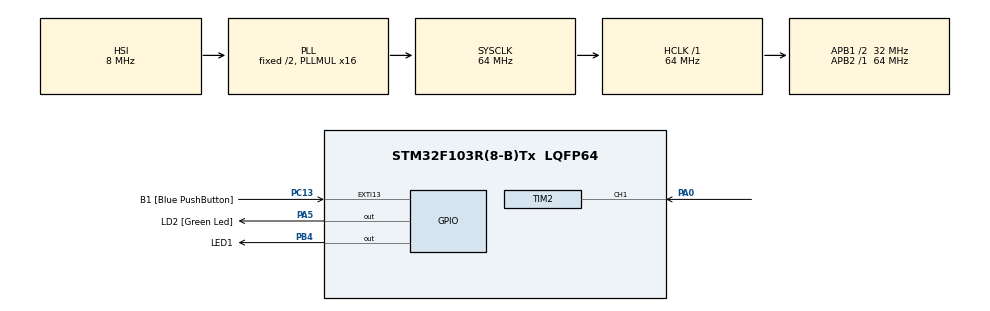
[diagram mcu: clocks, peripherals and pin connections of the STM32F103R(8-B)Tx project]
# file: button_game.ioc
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Mcu.Family=STM32F1
Mcu.Name=STM32F103R(8-B)Tx
Mcu.Package=LQFP64
NVIC.EXTI15_10_IRQn=true\:0\:0\:false\:false\:true\:true\:true\:true
NVIC.PriorityGroup=NVIC_PRIORITYGROUP_4
NVIC.TIM2_IRQn=true\:0\:0\:false\:false\:true\:true\:true\:true
NVIC.TIM3_IRQn=true\:0\:0\:false\:false\:true\:true\:true\:true
PA0-WKUP.Signal=S_TIM2_CH1_ETR
PA13.GPIO_Label=TMS
PA13.Mode=Serial_Wire
PA13.Signal=SYS_JTMS-SWDIO
PA14.GPIO_Label=TCK
PA14.Mode=Serial_Wire
PA14.Signal=SYS_JTCK-SWCLK
PA2.GPIO_Label=USART_TX
PA2.GPIO_Mode=GPIO_MODE_AF_PP
PA2.GPIO_PuPd=GPIO_NOPULL
PA2.GPIO_Speed=GPIO_SPEED_FREQ_LOW
PA2.Signal=USART2_TX
PA3.GPIO_Label=USART_RX
PA3.GPIO_Mode=GPIO_MODE_AF_PP
PA3.GPIO_PuPd=GPIO_NOPULL
PA3.GPIO_Speed=GPIO_SPEED_FREQ_LOW
PA3.Signal=USART2_RX
PA5.GPIO_Label=LD2 [Green Led]
PA5.GPIO_ModeDefaultOutputPP=GPIO_MODE_OUTPUT_PP
PA5.GPIO_PuPd=GPIO_NOPULL
PA5.GPIO_Speed=GPIO_SPEED_FREQ_LOW
PA5.Signal=GPIO_Output
PB4.GPIO_Label=LED1
PB4.Signal=GPIO_Output
PC13-TAMPER-RTC.GPIO_Label=B1 [Blue PushButton]
PC13-TAMPER-RTC.GPIO_ModeDefaultEXTI=GPIO_MODE_IT_FALLING
PC13-TAMPER-RTC.GPIO_PuPd=GPIO_NOPULL
PC13-TAMPER-RTC.Signal=GPXTI13
PC14-OSC32_IN.Signal=RCC_OSC32_IN
PC15-OSC32_OUT.Signal=RCC_OSC32_OUT
PD0-OSC_IN.Signal=RCC_OSC_IN
PD1-OSC_OUT.Signal=RCC_OSC_OUT
ProjectManager.HeapSize=0x200
ProjectManager.StackSize=0x400
ProjectManager.TargetToolchain=STM32CubeIDE
RCC.AHBFreq_Value=64000000
RCC.APB1CLKDivider=RCC_HCLK_DIV2
RCC.APB1Freq_Value=32000000
RCC.APB1TimFreq_Value=64000000
RCC.APB2Freq_Value=64000000
RCC.APB2TimFreq_Value=64000000
RCC.HCLKFreq_Value=64000000
RCC.PLLMUL=RCC_PLL_MUL16
RCC.SYSCLKFreq_VALUE=64000000
RCC.SYSCLKSource=RCC_SYSCLKSOURCE_PLLCLK
RCC.USBFreq_Value=64000000
SH.S_TIM2_CH1_ETR.0=TIM2_CH1,Input_Capture1_from_TI1
TIM2.Channel-Input_Capture1_from_TI1=TIM_CHANNEL_1
TIM2.ICFilter_CH1=15
TIM2.ICPolarity_CH1=TIM_INPUTCHANNELPOLARITY_FALLING
TIM2.Period=10000
TIM2.Prescaler=64000-1
TIM3.Period=4000
TIM3.Prescaler=64000-1
VP_TIM2_VS_ClockSourceINT.Mode=Internal
VP_TIM3_VS_ClockSourceINT.Mode=Internal
board=NUCLEO-F103RB

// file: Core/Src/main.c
/* USER CODE BEGIN Header */
/**
  ******************************************************************************
  * @file           : main.c
  * @brief          : Main program body
  ******************************************************************************
  * @attention
  *
  * Copyright (c) 2024 STMicroelectronics.
  * All rights reserved.
  *
  * This software is licensed under terms that can be found in the LICENSE file
  * in the root directory of this software component.
  * If no LICENSE file comes with this software, it is provided AS-IS.
  *
  ******************************************************************************
  */
/* USER CODE END Header */
#include "main.h"

TIM_HandleTypeDef htim2;
TIM_HandleTypeDef htim3;

/* USER CODE BEGIN PV */
int random_interval = 0;
/* USER CODE END PV */

void SystemClock_Config(void);
static void MX_GPIO_Init(void);
static void MX_TIM2_Init(void);
static void MX_TIM3_Init(void);

/* USER CODE BEGIN 0 */
extern void initialise_monitor_handles(void);

void generateTimeInterval(void)
{
	srand(HAL_GetTick());
	random_interval = 500 + (rand() % 2501);
	printf("Random time: %d ms\n", random_interval);
	__HAL_TIM_SET_AUTORELOAD(&htim3, random_interval);
	__HAL_TIM_SET_COUNTER(&htim3, 0);
	HAL_TIM_Base_Start_IT(&htim3);
	HAL_GPIO_WritePin(LED1_GPIO_Port, LED1_Pin, GPIO_PIN_SET);
}
/* USER CODE END 0 */

int main(void)
{

  /* USER CODE BEGIN 1 */
	initialise_monitor_handles();
	printf("lol\n");

  /* USER CODE END 1 */

  /* MCU Configuration--------------------------------------------------------*/

  /* Reset of all peripherals, Initializes the Flash interface and the Systick. */
  HAL_Init();

  /* Configure the system clock */
  SystemClock_Config();

  /* Initialize all configured peripherals */
  MX_GPIO_Init();
  MX_TIM2_Init();
  MX_TIM3_Init();
  /* USER CODE BEGIN 2 */
  HAL_TIM_Base_Start_IT(&htim2);
  HAL_TIM_Base_Start_IT(&htim3);
  HAL_TIM_IC_Start_IT(&htim2, TIM_CHANNEL_1);
  generateTimeInterval();

  /* USER CODE END 2 */

  /* Infinite loop */
  while (1)
  {

  }
}

void SystemClock_Config(void)
{
  RCC_OscInitTypeDef RCC_OscInitStruct = {0};
  RCC_ClkInitTypeDef RCC_ClkInitStruct = {0};

  /** Initializes the RCC Oscillators according to the specified parameters
  * in the RCC_OscInitTypeDef structure.
  */
  RCC_OscInitStruct.OscillatorType = RCC_OSCILLATORTYPE_HSI;
  RCC_OscInitStruct.HSIState = RCC_HSI_ON;
  RCC_OscInitStruct.HSICalibrationValue = RCC_HSICALIBRATION_DEFAULT;
  RCC_OscInitStruct.PLL.PLLState = RCC_PLL_ON;
  RCC_OscInitStruct.PLL.PLLSource = RCC_PLLSOURCE_HSI_DIV2;
  RCC_OscInitStruct.PLL.PLLMUL = RCC_PLL_MUL16;
  if (HAL_RCC_OscConfig(&RCC_OscInitStruct) != HAL_OK)
  {
    Error_Handler();
  }

  /** Initializes the CPU, AHB and APB buses clocks
  */
  RCC_ClkInitStruct.ClockType = RCC_CLOCKTYPE_HCLK|RCC_CLOCKTYPE_SYSCLK
                              |RCC_CLOCKTYPE_PCLK1|RCC_CLOCKTYPE_PCLK2;
  RCC_ClkInitStruct.SYSCLKSource = RCC_SYSCLKSOURCE_PLLCLK;
  RCC_ClkInitStruct.AHBCLKDivider = RCC_SYSCLK_DIV1;
  RCC_ClkInitStruct.APB1CLKDivider = RCC_HCLK_DIV2;
  RCC_ClkInitStruct.APB2CLKDivider = RCC_HCLK_DIV1;

  if (HAL_RCC_ClockConfig(&RCC_ClkInitStruct, FLASH_LATENCY_2) != HAL_OK)
  {
    Error_Handler();
  }
}

static void MX_TIM2_Init(void)
{

  TIM_ClockConfigTypeDef sClockSourceConfig = {0};
  TIM_MasterConfigTypeDef sMasterConfig = {0};
  TIM_IC_InitTypeDef sConfigIC = {0};

  htim2.Instance = TIM2;
  htim2.Init.Prescaler = 64000-1;
  htim2.Init.CounterMode = TIM_COUNTERMODE_UP;
  htim2.Init.Period = 10000;
  htim2.Init.ClockDivision = TIM_CLOCKDIVISION_DIV1;
  htim2.Init.AutoReloadPreload = TIM_AUTORELOAD_PRELOAD_DISABLE;
  if (HAL_TIM_Base_Init(&htim2) != HAL_OK)
  {
    Error_Handler();
  }
  sClockSourceConfig.ClockSource = TIM_CLOCKSOURCE_INTERNAL;
  if (HAL_TIM_ConfigClockSource(&htim2, &sClockSourceConfig) != HAL_OK)
  {
    Error_Handler();
  }
  if (HAL_TIM_IC_Init(&htim2) != HAL_OK)
  {
    Error_Handler();
  }
  sMasterConfig.MasterOutputTrigger = TIM_TRGO_RESET;
  sMasterConfig.MasterSlaveMode = TIM_MASTERSLAVEMODE_DISABLE;
  if (HAL_TIMEx_MasterConfigSynchronization(&htim2, &sMasterConfig) != HAL_OK)
  {
    Error_Handler();
  }
  sConfigIC.ICPolarity = TIM_INPUTCHANNELPOLARITY_FALLING;
  sConfigIC.ICSelection = TIM_ICSELECTION_DIRECTTI;
  sConfigIC.ICPrescaler = TIM_ICPSC_DIV1;
  sConfigIC.ICFilter = 15;
  if (HAL_TIM_IC_ConfigChannel(&htim2, &sConfigIC, TIM_CHANNEL_1) != HAL_OK)
  {
    Error_Handler();
  }

}

static void MX_TIM3_Init(void)
{

  TIM_ClockConfigTypeDef sClockSourceConfig = {0};
  TIM_MasterConfigTypeDef sMasterConfig = {0};

  htim3.Instance = TIM3;
  htim3.Init.Prescaler = 64000-1;
  htim3.Init.CounterMode = TIM_COUNTERMODE_UP;
  htim3.Init.Period = 4000;
  htim3.Init.ClockDivision = TIM_CLOCKDIVISION_DIV1;
  htim3.Init.AutoReloadPreload = TIM_AUTORELOAD_PRELOAD_DISABLE;
  if (HAL_TIM_Base_Init(&htim3) != HAL_OK)
  {
    Error_Handler();
  }
  sClockSourceConfig.ClockSource = TIM_CLOCKSOURCE_INTERNAL;
  if (HAL_TIM_ConfigClockSource(&htim3, &sClockSourceConfig) != HAL_OK)
  {
    Error_Handler();
  }
  sMasterConfig.MasterOutputTrigger = TIM_TRGO_RESET;
  sMasterConfig.MasterSlaveMode = TIM_MASTERSLAVEMODE_DISABLE;
  if (HAL_TIMEx_MasterConfigSynchronization(&htim3, &sMasterConfig) != HAL_OK)
  {
    Error_Handler();
  }

}

static void MX_GPIO_Init(void)
{
  GPIO_InitTypeDef GPIO_InitStruct = {0};

  /* GPIO Ports Clock Enable */
  __HAL_RCC_GPIOC_CLK_ENABLE();
  __HAL_RCC_GPIOD_CLK_ENABLE();
  __HAL_RCC_GPIOA_CLK_ENABLE();
  __HAL_RCC_GPIOB_CLK_ENABLE();

  /*Configure GPIO pin Output Level */
  HAL_GPIO_WritePin(LD2_GPIO_Port, LD2_Pin, GPIO_PIN_RESET);

  /*Configure GPIO pin Output Level */
  HAL_GPIO_WritePin(LED1_GPIO_Port, LED1_Pin, GPIO_PIN_RESET);

  /*Configure GPIO pin : B1_Pin */
  GPIO_InitStruct.Pin = B1_Pin;
  GPIO_InitStruct.Mode = GPIO_MODE_IT_FALLING;
  GPIO_InitStruct.Pull = GPIO_NOPULL;
  HAL_GPIO_Init(B1_GPIO_Port, &GPIO_InitStruct);

  /*Configure GPIO pins : USART_TX_Pin USART_RX_Pin */
  GPIO_InitStruct.Pin = USART_TX_Pin|USART_RX_Pin;
  GPIO_InitStruct.Mode = GPIO_MODE_AF_PP;
  GPIO_InitStruct.Speed = GPIO_SPEED_FREQ_LOW;
  HAL_GPIO_Init(GPIOA, &GPIO_InitStruct);

  /*Configure GPIO pin : LD2_Pin */
  GPIO_InitStruct.Pin = LD2_Pin;
  GPIO_InitStruct.Mode = GPIO_MODE_OUTPUT_PP;
  GPIO_InitStruct.Pull = GPIO_NOPULL;
  GPIO_InitStruct.Speed = GPIO_SPEED_FREQ_LOW;
  HAL_GPIO_Init(LD2_GPIO_Port, &GPIO_InitStruct);

  /*Configure GPIO pin : LED1_Pin */
  GPIO_InitStruct.Pin = LED1_Pin;
  GPIO_InitStruct.Mode = GPIO_MODE_OUTPUT_PP;
  GPIO_InitStruct.Pull = GPIO_NOPULL;
  GPIO_InitStruct.Speed = GPIO_SPEED_FREQ_LOW;
  HAL_GPIO_Init(LED1_GPIO_Port, &GPIO_InitStruct);

  /* EXTI interrupt init*/
  HAL_NVIC_SetPriority(EXTI15_10_IRQn, 0, 0);
  HAL_NVIC_EnableIRQ(EXTI15_10_IRQn);

}

/* USER CODE BEGIN 4 */
uint32_t time_of_press, time_of_release, estimated_time;
uint32_t interrupt_cupture_number = 0;
void HAL_TIM_IC_CaptureCallback(TIM_HandleTypeDef *htim)
{
	if (htim == &htim2)
	{
		if(interrupt_cupture_number == 0)
		{
			time_of_press = HAL_TIM_ReadCapturedValue(htim, TIM_CHANNEL_1);
		}

		if(interrupt_cupture_number == 1)
		{
			time_of_release = HAL_TIM_ReadCapturedValue(htim, TIM_CHANNEL_1);
		}

		interrupt_cupture_number++;
		if(interrupt_cupture_number == 2)
		{
			estimated_time = time_of_release-time_of_press;
			printf("Time of button press: :%d ms\n", estimated_time);
			if (abs(random_interval-estimated_time)<300)
			{
				printf("Success!\n");
				generateTimeInterval();
			}
			interrupt_cupture_number = 0;
		}

	}
}

void HAL_TIM_PeriodElapsedCallback(TIM_HandleTypeDef *htim) {
    if (htim == &htim3) {
    	HAL_GPIO_WritePin(LED1_GPIO_Port, LED1_Pin, GPIO_PIN_RESET);
		HAL_TIM_Base_Stop_IT(&htim3);
    }
}

/* USER CODE END 4 */

void Error_Handler(void)
{
  __disable_irq();
  while (1)
  {
  }
}
